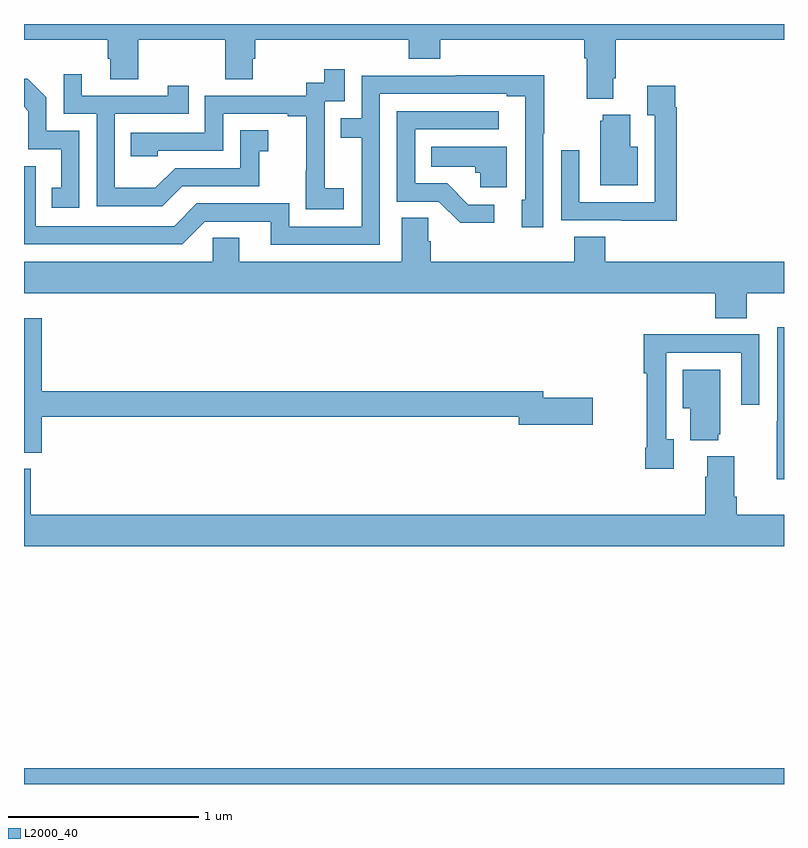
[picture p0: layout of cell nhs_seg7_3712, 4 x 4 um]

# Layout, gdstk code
import gdstk
lib = gdstk.Library(unit=1e-6, precision=1e-09)
def R(c, l, rs):  # rectangles x0, y0, x1, y1
    for r in rs: c.add(gdstk.rectangle(r[:2], r[2:], *l))
def P(c, l, *ps):  # polygons
    for p in ps: c.add(gdstk.Polygon(p, *l))
L2000_40 = (2000, 40)

nhs_seg7_3712 = lib.new_cell('nhs_seg7_3712')
R(nhs_seg7_3712, L2000_40, [(347,1030,351,1030.084)])
P(nhs_seg7_3712, L2000_40, [(350.101,1033.714),(350.114,1033.714),(350.114,1033.916),(351,1033.916),(351,1034),(347,1034),(347,1033.916),(347.441,1033.916),(347.441,1033.818),(347.453,1033.818),(347.453,1033.708),(347.601,1033.708),(347.601,1033.916),(348.058,1033.916),(348.058,1033.708),(348.205,1033.708),(348.205,1033.818),(348.218,1033.818),(348.218,1033.916),(349.025,1033.916),(349.025,1033.817),(349.19,1033.817),(349.19,1033.916),(349.949,1033.916),(349.949,1033.82),(349.961,1033.82),(349.961,1033.607),(350.101,1033.607)],
  [(348.682,1033.135),(348.584,1033.135),(348.584,1033.364),(348.582,1033.364),(348.582,1033.593),(348.687,1033.593),(348.687,1033.762),(348.579,1033.762),(348.579,1033.692),(348.486,1033.692),(348.486,1033.623),(347.952,1033.623),(347.952,1033.428),(347.563,1033.428),(347.563,1033.305),(347.703,1033.305),(347.703,1033.332),(348.048,1033.332),(348.048,1033.527),(348.389,1033.527),(348.389,1033.515),(348.485,1033.515),(348.485,1033.231),(348.484,1033.231),(348.484,1033.025),(348.682,1033.025)],
  [(347.833,1033.146),(348.237,1033.146),(348.237,1033.331),(348.286,1033.331),(348.286,1033.441),(348.138,1033.441),(348.138,1033.242),(347.796,1033.242),(347.692,1033.138),(347.478,1033.138),(347.478,1033.527),(347.867,1033.527),(347.867,1033.675),(347.756,1033.675),(347.756,1033.623),(347.305,1033.623),(347.305,1033.735),(347.208,1033.735),(347.208,1033.527),(347.382,1033.527),(347.382,1033.041),(347.728,1033.041)],
  [(348.873,1033.632),(349.541,1033.632),(349.541,1033.62),(349.638,1033.62),(349.638,1033.074),(349.619,1033.074),(349.619,1032.93),(349.734,1032.93),(349.734,1033.423),(349.737,1033.423),(349.737,1033.73),(349.273,1033.73),(349.273,1033.728),(348.777,1033.728),(348.777,1033.503),(348.667,1033.503),(348.667,1033.402),(348.777,1033.402),(348.777,1032.933),(348.396,1032.933),(348.396,1033.056),(347.91,1033.056),(347.79,1032.936),(347.061,1032.936),(347.061,1033.251),(347,1033.251),(347,1032.84),(347.832,1032.84),(347.952,1032.96),(348.299,1032.96),(348.299,1032.837),(348.873,1032.837)],
  [(347.292,1033.437),(347.118,1033.437),(347.118,1033.614),(347.02,1033.712),(347,1033.712),(347,1033.564),(347.022,1033.542),(347.022,1033.341),(347.195,1033.341),(347.195,1033.137),(347.146,1033.137),(347.146,1033.032),(347.292,1033.032)],
  [(350.435,1033.562),(350.428,1033.562),(350.428,1033.675),(350.279,1033.675),(350.279,1033.519),(350.319,1033.519),(350.319,1033.062),(349.923,1033.062),(349.923,1033.336),(349.827,1033.336),(349.827,1032.966),(350.143,1032.966),(350.143,1032.965),(350.435,1032.965)],
  [(349.474,1033.05),(349.339,1033.05),(349.228,1033.161),(349.059,1033.161),(349.059,1033.446),(349.498,1033.446),(349.498,1033.542),(348.963,1033.542),(348.963,1033.065),(349.182,1033.065),(349.295,1032.953),(349.474,1032.953)],
  [(350.23,1033.354),(350.191,1033.354),(350.191,1033.522),(350.045,1033.522),(350.045,1033.491),(350.033,1033.491),(350.033,1033.151),(350.23,1033.151)],
  [(349.54,1033.354),(349.144,1033.354),(349.144,1033.25),(349.375,1033.25),(349.375,1033.218),(349.401,1033.218),(349.401,1033.142),(349.54,1033.142)],
  [(350.804,1032.584),(351,1032.584),(351,1032.748),(350.06,1032.748),(350.06,1032.881),(349.895,1032.881),(349.895,1032.748),(349.142,1032.748),(349.142,1032.857),(349.128,1032.857),(349.128,1032.98),(348.989,1032.98),(348.989,1032.748),(348.133,1032.748),(348.133,1032.875),(347.994,1032.875),(347.994,1032.748),(347,1032.748),(347,1032.584),(350.639,1032.584),(350.639,1032.451),(350.804,1032.451)],
  [(347.093,1031.932),(349.604,1031.932),(349.604,1031.89),(349.993,1031.89),(349.993,1032.032),(349.732,1032.032),(349.732,1032.068),(347.093,1032.068),(347.093,1032.451),(347,1032.451),(347,1031.744),(347.093,1031.744)],
  [(351,1032.403),(350.964,1032.403),(350.964,1031.909),(350.962,1031.909),(350.962,1031.603),(351,1031.603)],
  [(350.419,1031.814),(350.379,1031.814),(350.379,1032.27),(350.775,1032.27),(350.775,1031.997),(350.871,1031.997),(350.871,1032.366),(350.555,1032.366),(350.555,1032.368),(350.263,1032.368),(350.263,1032.163),(350.278,1032.163),(350.278,1031.77),(350.271,1031.77),(350.271,1031.658),(350.419,1031.658)],
  [(350.654,1031.841),(350.665,1031.841),(350.665,1032.181),(350.468,1032.181),(350.468,1031.978),(350.507,1031.978),(350.507,1031.81),(350.654,1031.81)],
  [(351,1031.416),(350.75,1031.416),(350.75,1031.512),(350.737,1031.512),(350.737,1031.725),(350.597,1031.725),(350.597,1031.618),(350.585,1031.618),(350.585,1031.416),(347.036,1031.416),(347.036,1031.659),(347,1031.659),(347,1031.252),(351,1031.252)])

lib.write_gds('nhs_seg7_3712.gds')
